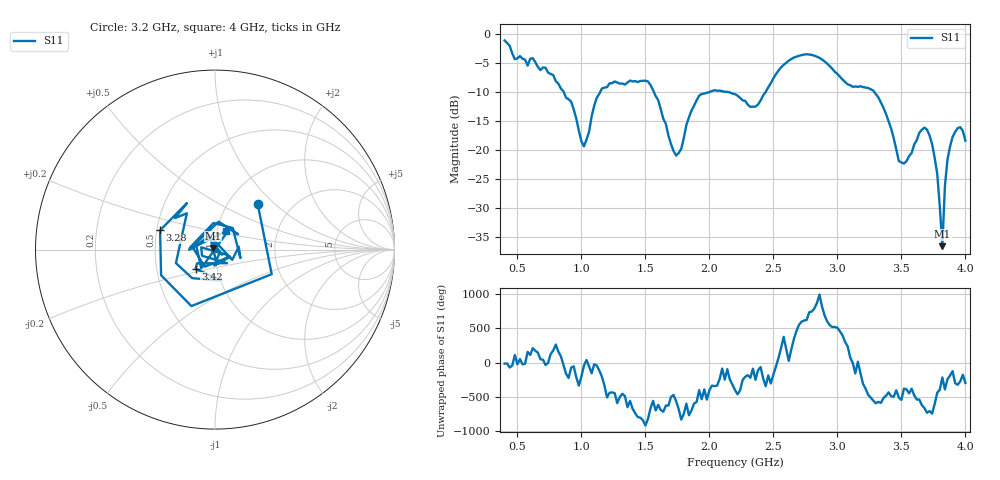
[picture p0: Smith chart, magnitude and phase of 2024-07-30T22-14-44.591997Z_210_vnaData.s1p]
!Created with skrf (http://scikit-rf.org).
# Hz S RI R 50.0
!freq ReS11 ImS11
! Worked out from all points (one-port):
!   181 points, 400 MHz to 4 GHz, reference 50 ohm
!   lowest |S11| = -36.6 dB at 3.82 GHz (marker M1), VSWR 1.03, Z = 48.9 + j0.909 ohm
!   |S11| at or under -10 dB: 1.566 GHz to 2.005 GHz (439.5 MHz wide, 24.6 % of centre); 2.13 GHz to 2.44 GHz (310.4 MHz wide, 13.6 % of centre); 3.287 GHz to end of sweep (the widest 3 of 4)
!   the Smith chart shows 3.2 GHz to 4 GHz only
!   S11 on the Smith chart (normalised r, x): 3.2 GHz: 1.37, +0.78; 3.28 GHz: 0.52, +0.13; 3.42 GHz: 0.79, -0.17; 4 GHz: 1.11, +0.23
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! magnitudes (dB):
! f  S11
! 400 MHz  -1.2
! 860 MHz  -9.9
! 920 MHz  -11.7
! 1.02 GHz  -19.4
! 1.16 GHz  -9.4
! 1.3 GHz  -8.6
! 1.52 GHz  -8.2
! 1.72 GHz  -20.2
! 1.76 GHz  -20.6
! 1.92 GHz  -10.7
! 2.2 GHz  -10.4
! 2.36 GHz  -12.6
! 2.66 GHz  -4.1
! 2.86 GHz  -4.1
! 3.1 GHz  -8.9
! 3.2 GHz  -9.2
! 3.28 GHz  -9.8
! 3.42 GHz  -16.3
! 3.48 GHz  -21.9
! 3.56 GHz  -21.1
! 3.66 GHz  -16.5
! 3.72 GHz  -17.5
! 3.78 GHz  -24.1
! 3.82 GHz  -36.6
! 3.84 GHz  -26.2
! 3.88 GHz  -19.4
! 3.94 GHz  -16.3
! 4 GHz  -18.4
